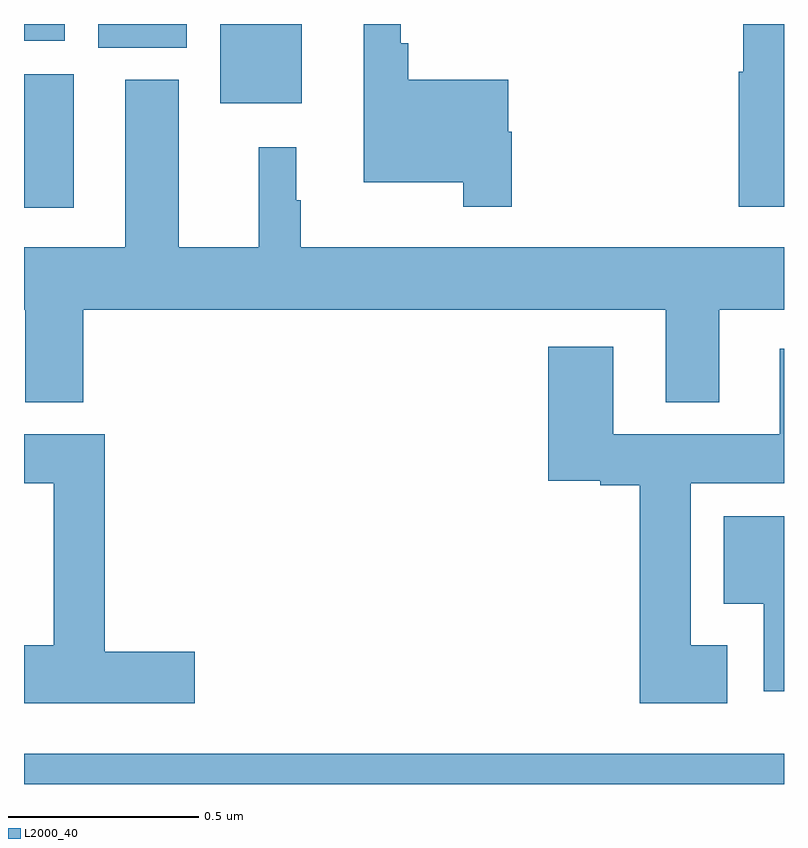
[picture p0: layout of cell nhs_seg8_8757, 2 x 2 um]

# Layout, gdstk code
import gdstk
lib = gdstk.Library(unit=1e-6, precision=1e-09)
def R(c, l, rs):  # rectangles x0, y0, x1, y1
    for r in rs: c.add(gdstk.rectangle(r[:2], r[2:], *l))
def P(c, l, *ps):  # polygons
    for p in ps: c.add(gdstk.Polygon(p, *l))
L2000_40 = (2000, 40)

nhs_seg8_8757 = lib.new_cell('nhs_seg8_8757')
R(nhs_seg8_8757, L2000_40, [(227,1133.9,229,1133.98), (227,1135.416,227.131,1135.768), (227.516,1135.691,227.731,1135.9), (227.195,1135.838,227.428,1135.9), (227,1135.856,227.107,1135.9)])
P(nhs_seg8_8757, L2000_40, [(229,1135.9),(228.893,1135.9),(228.893,1135.774),(228.881,1135.774),(228.881,1135.419),(229,1135.419)],
  [(228.284,1135.617),(228.274,1135.617),(228.274,1135.753),(228.011,1135.753),(228.011,1135.849),(227.991,1135.849),(227.991,1135.9),(227.894,1135.9),(227.894,1135.484),(228.156,1135.484),(228.156,1135.419),(228.284,1135.419)],
  [(227.156,1135.148),(228.689,1135.148),(228.689,1134.905),(228.829,1134.905),(228.829,1135.148),(229,1135.148),(229,1135.312),(227.728,1135.312),(227.728,1135.436),(227.716,1135.436),(227.716,1135.576),(227.618,1135.576),(227.618,1135.312),(227.407,1135.312),(227.407,1135.753),(227.267,1135.753),(227.267,1135.312),(227,1135.312),(227,1135.148),(227.003,1135.148),(227.003,1134.905),(227.156,1134.905)],
  [(228.85,1134.265),(228.754,1134.265),(228.754,1134.692),(229,1134.692),(229,1135.045),(228.989,1135.045),(228.989,1134.82),(228.55,1134.82),(228.55,1135.051),(228.38,1135.051),(228.38,1134.698),(228.516,1134.698),(228.516,1134.686),(228.62,1134.686),(228.62,1134.113),(228.85,1134.113)],
  [(227.449,1134.248),(227.213,1134.248),(227.213,1134.82),(227,1134.82),(227,1134.692),(227.078,1134.692),(227.078,1134.265),(227,1134.265),(227,1134.113),(227.449,1134.113)],
  [(229,1134.604),(228.842,1134.604),(228.842,1134.374),(228.947,1134.374),(228.947,1134.144),(229,1134.144)])

lib.write_gds('nhs_seg8_8757.gds')
